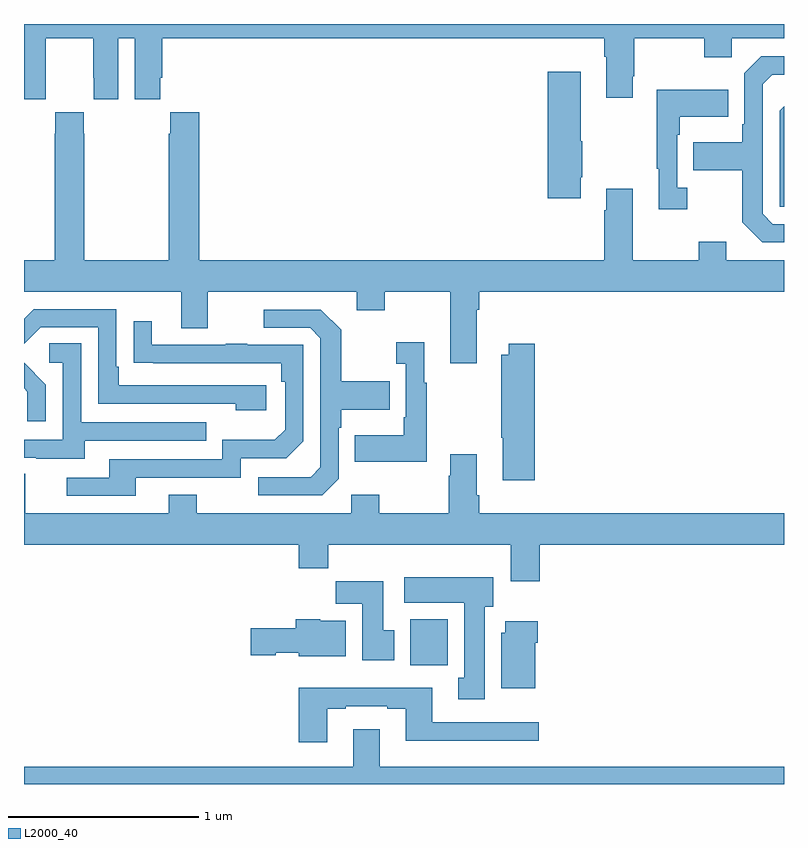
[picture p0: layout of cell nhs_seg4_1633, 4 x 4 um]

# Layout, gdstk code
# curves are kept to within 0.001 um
import gdstk
lib = gdstk.Library(unit=1e-6, precision=1e-09)
def R(c, l, rs):  # rectangles x0, y0, x1, y1
    for r in rs: c.add(gdstk.rectangle(r[:2], r[2:], *l))
def P(c, l, *ps):  # polygons
    for p in ps: c.add(gdstk.Polygon(p, *l))
L2000_40 = (2000, 40)

nhs_seg4_1633 = lib.new_cell('nhs_seg4_1633')
R(nhs_seg4_1633, L2000_40, [(197.033,789.524,197.23,789.766)])
P(nhs_seg4_1633, L2000_40, [(195.114,792.616),(195.115,792.616),(195.115,792.824),(195.365,792.824),(195.365,792.616),(195.366,792.616),(195.366,792.504),(195.496,792.504),(195.496,792.824),(195.584,792.824),(195.584,792.504),(195.718,792.504),(195.718,792.616),(195.728,792.616),(195.728,792.824),(198.053,792.824),(198.053,792.728),(198.065,792.728),(198.065,792.513),(198.205,792.513),(198.205,792.625),(198.213,792.625),(198.213,792.824),(198.58,792.824),(198.58,792.725),(198.726,792.725),(198.726,792.824),(199,792.824),(199,792.9),(195,792.9),(195,792.504),(195.114,792.504)],
  [(199,791.847),(198.942,791.847),(198.888,791.901),(198.888,792.582),(198.939,792.633),(199,792.633),(199,792.729),(198.879,792.729),(198.792,792.642),(198.792,792.373),(198.78,792.373),(198.78,792.277),(198.523,792.277),(198.523,792.13),(198.78,792.13),(198.78,791.857),(198.885,791.751),(199,791.751)],
  [(197.929,792.094),(197.937,792.094),(197.937,792.283),(197.929,792.283),(197.929,792.649),(197.756,792.649),(197.756,791.982),(197.929,791.982)],
  [(198.49,792.038),(198.438,792.038),(198.438,792.317),(198.451,792.317),(198.451,792.413),(198.707,792.413),(198.707,792.553),(198.33,792.553),(198.33,792.137),(198.341,792.137),(198.341,791.925),(198.49,791.925)],
  [(199,792.466),(198.978,792.444),(198.978,791.937),(199,791.937)],
  [(197.383,791.396),(197.396,791.396),(197.396,791.492),(199,791.492),(199,791.656),(198.697,791.656),(198.697,791.755),(198.55,791.755),(198.55,791.656),(198.205,791.656),(198.205,792.034),(198.065,792.034),(198.065,791.921),(198.053,791.921),(198.053,791.656),(195.923,791.656),(195.923,792.436),(195.769,792.436),(195.769,792.323),(195.763,792.323),(195.763,791.656),(195.318,791.656),(195.318,792.323),(195.315,792.323),(195.315,792.436),(195.165,792.436),(195.165,792.323),(195.163,792.323),(195.163,791.656),(195,791.656),(195,791.492),(195.827,791.492),(195.827,791.298),(195.967,791.298),(195.967,791.492),(196.751,791.492),(196.751,791.393),(196.899,791.393),(196.899,791.492),(197.243,791.492),(197.243,791.115),(197.383,791.115)],
  [(196.276,790.998),(195.499,790.998),(195.499,791.095),(195.486,791.095),(195.486,791.4),(195.051,791.4),(195,791.349),(195,791.217),(195.087,791.304),(195.39,791.304),(195.39,790.902),(196.115,790.902),(196.115,790.868),(196.276,790.868)],
  [(196.656,790.506),(196.656,790.775),(196.669,790.775),(196.669,790.871),(196.925,790.871),(196.925,791.019),(196.669,791.019),(196.669,791.291),(196.563,791.397),(196.263,791.397),(196.263,791.301),(196.506,791.301),(196.56,791.247),(196.56,790.566),(196.509,790.515),(196.233,790.515),(196.233,790.419),(196.569,790.419)],
  [(195.589,790.512),(196.14,790.512),(196.14,790.614),(196.38,790.614),(196.47,790.704),(196.47,791.211),(196.175,791.211),(196.175,791.216),(196.063,791.216),(196.063,791.211),(195.673,791.211),(195.673,791.335),(195.577,791.335),(195.577,791.116),(196.354,791.115),(196.354,791.018),(196.374,791.018),(196.374,790.764),(196.321,790.711),(196.044,790.711),(196.044,790.608),(195.449,790.608),(195.449,790.512),(195.225,790.512),(195.225,790.416),(195.589,790.416)],
  [(197.119,791.011),(197.107,791.011),(197.107,791.224),(196.959,791.224),(196.959,791.111),(197.01,791.111),(197.01,790.831),(196.998,790.831),(196.998,790.735),(196.741,790.735),(196.741,790.595),(197.119,790.595)],
  [(195.319,790.707),(195.959,790.707),(195.959,790.803),(195.3,790.803),(195.3,791.219),(195.132,791.219),(195.132,791.118),(195.204,791.118),(195.204,790.713),(195,790.713),(195,790.617),(195.065,790.617),(195.065,790.613),(195.319,790.613)],
  [(197.687,791.218),(197.552,791.218),(197.552,791.158),(197.512,791.158),(197.512,790.723),(197.519,790.723),(197.519,790.5),(197.687,790.5)],
  [(195.114,791.002),(195,791.116),(195,790.982),(195.017,790.965),(195.017,790.809),(195.114,790.809)],
  [(197.714,790.16),(199,790.16),(199,790.324),(197.396,790.324),(197.396,790.42),(197.383,790.42),(197.383,790.636),(197.243,790.636),(197.243,790.523),(197.236,790.523),(197.236,790.324),(196.869,790.324),(196.869,790.423),(196.722,790.423),(196.722,790.324),(195.909,790.324),(195.909,790.423),(195.761,790.423),(195.761,790.324),(195.007,790.324),(195.007,790.532),(195,790.532),(195,790.16),(196.445,790.16),(196.445,790.036),(196.601,790.036),(196.601,790.16),(197.561,790.16),(197.561,789.966),(197.714,789.966)],
  [(197.425,789.834),(197.47,789.834),(197.47,789.988),(197.001,789.988),(197.001,789.854),(197.318,789.854),(197.318,789.458),(197.285,789.458),(197.285,789.345),(197.425,789.345)],
  [(196.948,789.708),(196.891,789.708),(196.891,789.967),(196.642,789.967),(196.642,789.848),(196.781,789.848),(196.781,789.552),(196.948,789.552)],
  [(196.693,789.76),(196.56,789.76),(196.56,789.766),(196.43,789.766),(196.43,789.72),(196.194,789.72),(196.194,789.578),(196.326,789.578),(196.326,789.59),(196.446,789.59),(196.446,789.572),(196.693,789.572)],
  [(197.692,789.644),(197.705,789.644),(197.705,789.757),(197.534,789.757),(197.534,789.696),(197.513,789.696),(197.513,789.404),(197.692,789.404)],
  [(196.597,789.297),(196.693,789.297),(196.693,789.309),(196.913,789.309),(196.913,789.297),(197.009,789.297),(197.009,789.128),(197.71,789.128),(197.71,789.225),(197.149,789.225),(197.149,789.406),(196.445,789.406),(196.445,789.12),(196.597,789.12)],
  [(199,788.992),(196.873,788.992),(196.873,789.187),(196.733,789.187),(196.733,788.992),(195,788.992),(195,788.9),(199,788.9)])

lib.write_gds('nhs_seg4_1633.gds')
